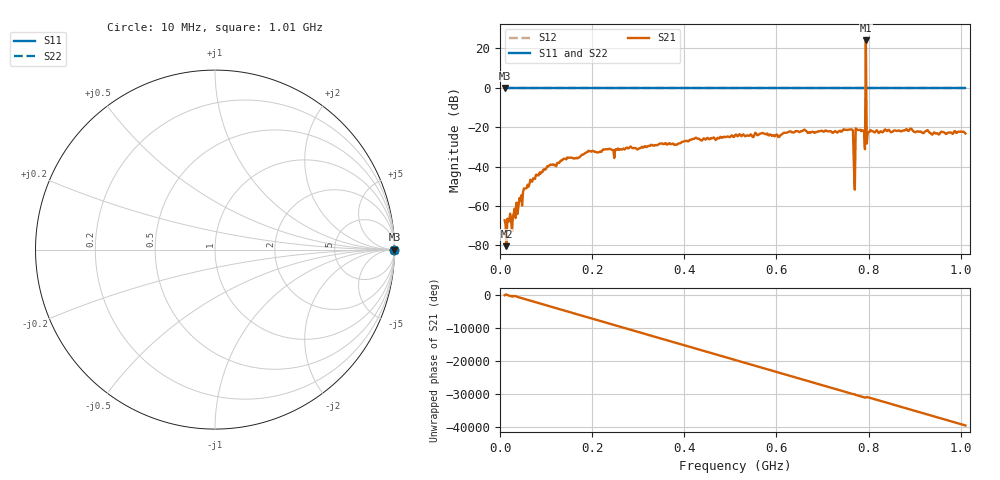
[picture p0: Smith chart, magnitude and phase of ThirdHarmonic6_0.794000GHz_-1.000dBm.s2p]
! 8/16/2025 2:29:40 AM
! C:\ANRITSUVNA\TEMP\TEMP.S2P
! CHANNEL.1
! TR.MEASUREMENT
! RAW.DATA
! RF.CORRECTION.OFF
! AVERAGING.OFF
! IF.BANDWIDTH: 5KHZ
! SWEEPTYPE:  FREQ.SWEEP(Linear)
! Reference Plane Port Info
! PORT:  PORT1  PORT2
! DISTANCE:  0  m  0  m
! TIME:  0  s  0  s
! PHASE.OFFSET:  0  deg.  0  deg.
! LOSS:  0  dB  0  dB
! REF.LOSS:  0  dB  0  dB
! REF.FREQ:  0  Hz  0  Hz
! Power Info
! POWER:  -20  dBm  -20  dBm
! EFF.POWER:  -20  dBm  -20  dBm
! SOURCE.ATTEN:  0  dB  0  dB
! TEST.ATTEN:  0  dB  0  dB
# GHZ S RI R 50.0
! FREQ.GHZ  S11RE  S11IM  S21RE  S21IM  S12RE  S12IM  S22RE  S22IM
!; PortSelection: Port_12
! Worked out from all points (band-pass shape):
!   501 points, 10 MHz to 1.01 GHz, reference 50 ohm
!   highest |S21| = 24.08 dB at 794 MHz (marker M1); lowest = -80.4 dB at 14 MHz (marker M2)
!   |S21| within 3 dB of the highest: 793.8914 MHz to 794.1145 MHz (223 kHz wide, 0.0281 % of centre)
!   lowest |S11| = 0.0 dB at 10 MHz (marker M3)
!   |S11| at or under -10 dB: nowhere
!   |S22| runs from 0.0 to 0.0 dB; largest |S21 - S12| = 16
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0.01  1 0  -0.00011 -0.000419  1 0  1 0
0.014  1 0  -1.57e-05 9.37e-05  1 0  1 0
0.02  1 0  -0.000245 0.000341  1 0  1 0
0.03  1 0  0.000604 -0.000263  1 0  1 0
0.054  1 0  -0.00274 9.57e-05  1 0  1 0
0.076  1 0  0.00485 0.000187  1 0  1 0
0.106  1 0  -0.00782 -0.00704  1 0  1 0
0.178  1 0  -0.0198 -0.00346  1 0  1 0
0.344  1 0  0.0345 -0.0111  1 0  1 0
0.51  1 0  -0.0485 0.04  1 0  1 0
0.678  1 0  -0.0712 -0.0283  1 0  1 0
0.762  1 0  0.0584 0.0658  1 0  1 0
0.766  1 0  -0.0294 -0.0779  1 0  1 0
0.772  1 0  0.0938 0.00265  1 0  1 0
0.776  1 0  -0.0814 -0.0264  1 0  1 0
0.788  1 0  0.0231 0.0791  1 0  1 0
0.79  1 0  0.0814 -0.0083  1 0  1 0
0.794  1 0  5.939 -14.85  1 0  1 0
0.798  1 0  0.0628 0.0383  1 0  1 0
0.8  1 0  0.051 -0.0556  1 0  1 0
0.844  1 0  0.0796 -0.0324  1 0  1 0
1.01  1 0  -0.0419 0.0551  1 0  1 0
